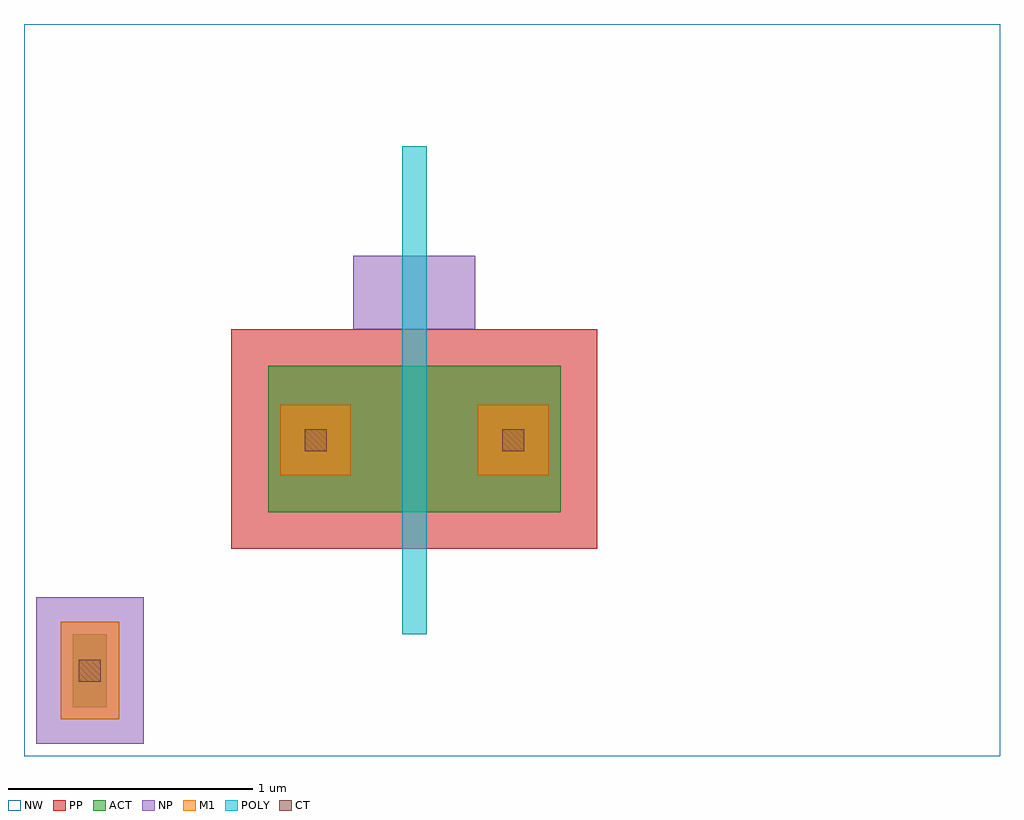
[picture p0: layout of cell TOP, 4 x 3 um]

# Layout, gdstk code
import gdstk
lib = gdstk.Library(unit=1e-6, precision=1e-09)
def R(c, l, rs):  # rectangles x0, y0, x1, y1
    for r in rs: c.add(gdstk.rectangle(r[:2], r[2:], *l))
ACT = (2, 1)
NW = (9, 1)
POLY = (41, 1)
NP = (52, 1)
PP = (53, 1)
CT = (72, 1)
M1 = (81, 1)

top = lib.new_cell('TOP')
R(top, ACT, [(0.2,0.2,0.34,0.5), (1,1,2.2,1.6)])
R(top, NW, [(0,0,4,3)])
R(top, POLY, [(1.55,0.5,1.65,2.5)])
R(top, NP, [(0.05,0.05,0.49,0.65), (1.35,1.75,1.85,2.05)])
R(top, PP, [(0.85,0.85,2.35,1.75)])
R(top, CT, [(0.225,0.305,0.315,0.395), (1.15,1.25,1.24,1.34), (1.96,1.25,2.05,1.34)])
R(top, M1, [(0.15,0.15,0.39,0.55), (1.05,1.15,1.34,1.44), (1.86,1.15,2.15,1.44)])

lib.write_gds('TOP.gds')
